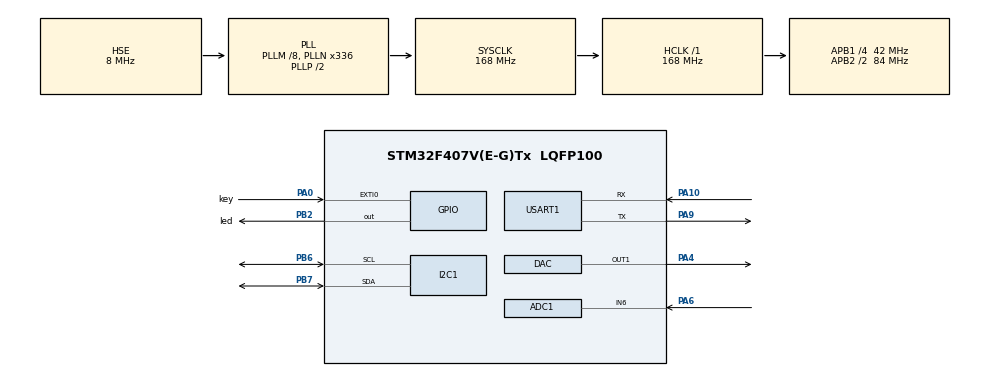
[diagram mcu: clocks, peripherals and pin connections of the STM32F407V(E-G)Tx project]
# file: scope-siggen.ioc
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ADC1.Channel-0\#ChannelRegularConversion=ADC_CHANNEL_4
ADC1.ExternalTrigConv=ADC_EXTERNALTRIGCONV_T8_TRGO
ADC1.NbrOfConversionFlag=1
ADC1.Rank-0\#ChannelRegularConversion=1
ADC1.SamplingTime-0\#ChannelRegularConversion=ADC_SAMPLETIME_3CYCLES
ADC1.master=1
DAC.DAC_Trigger=DAC_TRIGGER_T5_TRGO
Dma.Request0=USART1_TX
Dma.USART1_TX.0.Direction=DMA_MEMORY_TO_PERIPH
Dma.USART1_TX.0.FIFOMode=DMA_FIFOMODE_DISABLE
Dma.USART1_TX.0.Instance=DMA2_Stream7
Dma.USART1_TX.0.MemDataAlignment=DMA_MDATAALIGN_BYTE
Dma.USART1_TX.0.MemInc=DMA_MINC_ENABLE
Dma.USART1_TX.0.Mode=DMA_CIRCULAR
Dma.USART1_TX.0.PeriphDataAlignment=DMA_PDATAALIGN_BYTE
Dma.USART1_TX.0.PeriphInc=DMA_PINC_DISABLE
Dma.USART1_TX.0.Priority=DMA_PRIORITY_LOW
FREERTOS.Tasks01=defaultTask,24,128,StartDefaultTask,Default,NULL,Dynamic,NULL,NULL
IWDG.Prescaler=IWDG_PRESCALER_256
Mcu.Family=STM32F4
Mcu.Name=STM32F407V(E-G)Tx
Mcu.Package=LQFP100
NVIC.ADC_IRQn=true\:5\:0\:true\:false\:true\:true\:true\:true
NVIC.DMA2_Stream7_IRQn=true\:5\:0\:false\:false\:true\:true\:false\:true
NVIC.EXTI0_IRQn=true\:6\:0\:true\:false\:true\:true\:true\:true
NVIC.I2C1_ER_IRQn=true\:5\:0\:true\:false\:true\:true\:true\:true
NVIC.I2C1_EV_IRQn=true\:5\:0\:true\:false\:true\:true\:true\:true
NVIC.PriorityGroup=NVIC_PRIORITYGROUP_4
NVIC.TIM5_IRQn=true\:5\:0\:false\:false\:true\:true\:true\:true
NVIC.TIM6_DAC_IRQn=true\:15\:0\:false\:false\:true\:false\:false\:true
NVIC.TIM8_UP_TIM13_IRQn=true\:5\:0\:false\:false\:true\:true\:true\:true
NVIC.TimeBase=TIM6_DAC_IRQn
NVIC.TimeBaseIP=TIM6
NVIC.USART1_IRQn=true\:5\:0\:false\:false\:true\:true\:true\:true
PA0-WKUP.GPIO_Label=key
PA0-WKUP.Signal=GPXTI0
PA10.GPIO_PuPd=GPIO_PULLUP
PA10.Mode=Asynchronous
PA10.Signal=USART1_RX
PA13.Mode=Serial_Wire
PA13.Signal=SYS_JTMS-SWDIO
PA14.Mode=Serial_Wire
PA14.Signal=SYS_JTCK-SWCLK
PA4.Signal=COMP_DAC1_group
PA6.Signal=ADCx_IN6
PA9.GPIO_PuPd=GPIO_NOPULL
PA9.Mode=Asynchronous
PA9.Signal=USART1_TX
PB2.GPIO_Label=led
PB2.Signal=GPIO_Output
PB6.GPIO_Pu=GPIO_PULLUP
PB6.Mode=I2C
PB6.Signal=I2C1_SCL
PB7.GPIO_Pu=GPIO_PULLUP
PB7.Mode=I2C
PB7.Signal=I2C1_SDA
PH0-OSC_IN.Mode=HSE-External-Oscillator
PH0-OSC_IN.Signal=RCC_OSC_IN
PH1-OSC_OUT.Mode=HSE-External-Oscillator
PH1-OSC_OUT.Signal=RCC_OSC_OUT
ProjectManager.HeapSize=0x200
ProjectManager.StackSize=0x400
ProjectManager.TargetToolchain=MDK-ARM V5.32
RCC.48MHZClocksFreq_Value=84000000
RCC.AHBFreq_Value=168000000
RCC.APB1CLKDivider=RCC_HCLK_DIV4
RCC.APB1Freq_Value=42000000
RCC.APB1TimFreq_Value=84000000
RCC.APB2CLKDivider=RCC_HCLK_DIV2
RCC.APB2Freq_Value=84000000
RCC.APB2TimFreq_Value=168000000
RCC.CortexFreq_Value=168000000
RCC.HCLKFreq_Value=168000000
RCC.HSE_VALUE=8000000
RCC.HSI_VALUE=16000000
RCC.LSE_VALUE=32768
RCC.PLLM=8
RCC.PLLN=336
RCC.PLLSourceVirtual=RCC_PLLSOURCE_HSE
RCC.SYSCLKFreq_VALUE=168000000
RCC.SYSCLKSource=RCC_SYSCLKSOURCE_PLLCLK
RCC.VCOOutputFreq_Value=336000000
SH.ADCx_IN6.0=ADC1_IN6,IN6
SH.COMP_DAC1_group.0=DAC_OUT1,DAC_OUT1
TIM5.Channel-Output\ Compare2\ No\ Output=TIM_CHANNEL_2
TIM5.Period=256-1
TIM5.TIM_MasterOutputTrigger=TIM_TRGO_UPDATE
TIM8.Channel-Output\ Compare1\ No\ Output=TIM_CHANNEL_1
TIM8.Period=671
TIM8.Prescaler=4
USART1.VirtualMode=VM_ASYNC
VP_FREERTOS_VS_CMSIS_V2.Mode=CMSIS_V2
VP_IWDG_VS_IWDG.Mode=IWDG_Activate
VP_SYS_VS_tim6.Mode=TIM6
VP_TIM5_VS_ClockSourceINT.Mode=Internal
VP_TIM5_VS_no_output2.Mode=Output Compare2 No Output
VP_TIM8_VS_ClockSourceINT.Mode=Internal
VP_TIM8_VS_no_output1.Mode=Output Compare1 No Output
board=custom

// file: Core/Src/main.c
/* USER CODE BEGIN Header */
/**
  ******************************************************************************
  * @file           : main.c
  * @brief          : Main program body
  ******************************************************************************
  * @attention
  *
  * Copyright (c) 2026 STMicroelectronics.
  * All rights reserved.
  *
  * This software is licensed under terms that can be found in the LICENSE file
  * in the root directory of this software component.
  * If no LICENSE file comes with this software, it is provided AS-IS.
  *
  ******************************************************************************
  */
/* USER CODE END Header */
#include "main.h"
#include "cmsis_os.h"

/* USER CODE BEGIN Includes */
#include "version.h"
#include "debug.h"
#include "error_tracker.h"
#include "oscilloscope.h"
#include "signal_gen.h"
#include "uart_protocol.h"
#include "uart_tx.h"
#include "display.h"
#include "key_handler.h"
#include "config.h"
#include "app_init.h"
#include <stdio.h>
#include <string.h>
/* USER CODE END Includes */

ADC_HandleTypeDef hadc1;

DAC_HandleTypeDef hdac;

I2C_HandleTypeDef hi2c1;

IWDG_HandleTypeDef hiwdg;

TIM_HandleTypeDef htim5;
TIM_HandleTypeDef htim8;

UART_HandleTypeDef huart1;

/* Definitions for defaultTask */
osThreadId_t defaultTaskHandle;
const osThreadAttr_t defaultTask_attributes = {
  .name = "defaultTask",
  .stack_size = 128 * 4,
  .priority = (osPriority_t) osPriorityNormal,
};
/* USER CODE BEGIN PV */
/* 外部任务句柄声明 */
extern osThreadId_t oscilloscope_task_handle;
extern osThreadId_t signalgen_task_handle;
extern osThreadId_t uart_task_handle;
extern osThreadId_t display_task_handle;
extern osThreadId_t key_task_handle;

/* DMA句柄 */
DMA_HandleTypeDef hdma_dac1;
DMA_HandleTypeDef hdma_adc1;
/* USER CODE END PV */

void SystemClock_Config(void);
static void MX_GPIO_Init(void);
static void MX_ADC1_Init(void);
static void MX_DAC_Init(void);
static void MX_I2C1_Init(void);
static void MX_IWDG_Init(void);
static void MX_TIM5_Init(void);
static void MX_TIM8_Init(void);
static void MX_USART1_UART_Init(void);
void StartDefaultTask(void *argument);

int main(void)
{

  /* MCU Configuration--------------------------------------------------------*/

  /* Reset of all peripherals, Initializes the Flash interface and the Systick. */
  HAL_Init();

  /* Configure the system clock */
  SystemClock_Config();

  /* Initialize all configured peripherals */
  MX_GPIO_Init();
  MX_ADC1_Init();
  MX_DAC_Init();
  MX_I2C1_Init();
  MX_IWDG_Init();
  MX_TIM5_Init();
  MX_TIM8_Init();
  MX_USART1_UART_Init();

  /* USER CODE BEGIN 2 */
  /* 标记 UART TX 已就绪，允许 printf 输出 */
  UART_TX_MarkReady();

  /* 按键 GPIO 由 KeyHandler_Init 统一配置 */

  /* I2C 连通性检查（仅验证 OLED 在线） */
  uint8_t test_byte = 0x00;
  if (HAL_I2C_Master_Transmit(&hi2c1, 0x78, &test_byte, 1, 100) != HAL_OK) {
    char warn[] = "WARN: I2C OLED not responding\r\n";
    HAL_UART_Transmit(&huart1, (uint8_t*)warn, sizeof(warn)-1, 100);
  }

  /* 打印版本信息 */
  Version_Print();

  /* 应用初始化 */
  BootStage_t boot_stage = App_Init();

  if (boot_stage == BOOT_STAGE_ERROR) {
    LOG_ERROR("Application init failed");
    /* 进入降级模式 */
    App_EnterFallbackMode();
  }

  LOG_INFO_M(LOG_MODULE_APP, "System initialized, boot stage: %s", App_GetBootStageString(boot_stage));
  /* USER CODE END 2 */

  /* Init scheduler */
  osKernelInitialize();

  /* Create the thread(s) */
  /* creation of defaultTask */
  defaultTaskHandle = osThreadNew(StartDefaultTask, NULL, &defaultTask_attributes);

  /* USER CODE BEGIN RTOS_THREADS */
  /* add threads, ... */

  /* 创建示波器任务 */
  oscilloscope_task_handle = osThreadNew(Oscilloscope_Task, NULL, &(osThreadAttr_t){
    .name = "Oscilloscope",
    .stack_size = 768 * 4,  /* 增加到 3072 字节，原 2048 */
    .priority = (osPriority_t) osPriorityNormal,
  });

  /* 创建信号发生器任务 */
  signalgen_task_handle = osThreadNew(SignalGen_Task, NULL, &(osThreadAttr_t){
    .name = "SignalGen",
    .stack_size = 768 * 4,  /* 增加到 3072 字节，原 2048 */
    .priority = (osPriority_t) osPriorityNormal,
  });

  /* 创建串口协议任务 */
  uart_task_handle = osThreadNew(UART_Task, NULL, &(osThreadAttr_t){
    .name = "UART",
    .stack_size = 1536 * 4,  /* 增加到 6144 字节，原 4096 */
    .priority = (osPriority_t) osPriorityNormal,
  });

  /* 创建显示任务 */
  display_task_handle = osThreadNew(Display_Task, NULL, &(osThreadAttr_t){
    .name = "Display",
    .stack_size = 768 * 4,  /* 增加到 3072 字节，原 2048 */
    .priority = (osPriority_t) osPriorityNormal,
  });

  /* 创建按键任务 */
  key_task_handle = osThreadNew(Key_Task, NULL, &(osThreadAttr_t){
    .name = "Key",
    .stack_size = 384 * 4,  /* 增加到 1536 字节，原 1024 */
    .priority = (osPriority_t) osPriorityNormal,
  });

  /* USER CODE END RTOS_THREADS */

  /* Start scheduler */
  osKernelStart();

  /* We should never get here as control is now taken by the scheduler */
  /* Infinite loop */
  while (1)
  {

  }
}

void SystemClock_Config(void)
{
  RCC_OscInitTypeDef RCC_OscInitStruct = {0};
  RCC_ClkInitTypeDef RCC_ClkInitStruct = {0};

  /** Configure the main internal regulator output voltage
  */
  __HAL_RCC_PWR_CLK_ENABLE();
  __HAL_PWR_VOLTAGESCALING_CONFIG(PWR_REGULATOR_VOLTAGE_SCALE1);
  /** Initializes the RCC Oscillators according to the specified parameters
  * in the RCC_OscInitTypeDef structure.
  */
  RCC_OscInitStruct.OscillatorType = RCC_OSCILLATORTYPE_LSI|RCC_OSCILLATORTYPE_HSE;
  RCC_OscInitStruct.HSEState = RCC_HSE_ON;
  RCC_OscInitStruct.LSIState = RCC_LSI_ON;
  RCC_OscInitStruct.PLL.PLLState = RCC_PLL_ON;
  RCC_OscInitStruct.PLL.PLLSource = RCC_PLLSOURCE_HSE;
  RCC_OscInitStruct.PLL.PLLM = 8;
  RCC_OscInitStruct.PLL.PLLN = 336;
  RCC_OscInitStruct.PLL.PLLP = RCC_PLLP_DIV2;
  RCC_OscInitStruct.PLL.PLLQ = 4;
  if (HAL_RCC_OscConfig(&RCC_OscInitStruct) != HAL_OK)
  {
    Error_Handler();
  }
  /** Initializes the CPU, AHB and APB buses clocks
  */
  RCC_ClkInitStruct.ClockType = RCC_CLOCKTYPE_HCLK|RCC_CLOCKTYPE_SYSCLK
                              |RCC_CLOCKTYPE_PCLK1|RCC_CLOCKTYPE_PCLK2;
  RCC_ClkInitStruct.SYSCLKSource = RCC_SYSCLKSOURCE_PLLCLK;
  RCC_ClkInitStruct.AHBCLKDivider = RCC_SYSCLK_DIV1;
  RCC_ClkInitStruct.APB1CLKDivider = RCC_HCLK_DIV4;
  RCC_ClkInitStruct.APB2CLKDivider = RCC_HCLK_DIV2;

  if (HAL_RCC_ClockConfig(&RCC_ClkInitStruct, FLASH_LATENCY_5) != HAL_OK)
  {
    Error_Handler();
  }
}

static void MX_ADC1_Init(void)
{

  ADC_ChannelConfTypeDef sConfig = {0};

  /** Configure the global features of the ADC (Clock, Resolution, Data Alignment and number of conversion)
  */
  hadc1.Instance = ADC1;
  hadc1.Init.ClockPrescaler = ADC_CLOCK_SYNC_PCLK_DIV4;
  hadc1.Init.Resolution = ADC_RESOLUTION_12B;
  hadc1.Init.ScanConvMode = DISABLE;
  hadc1.Init.ContinuousConvMode = DISABLE;
  hadc1.Init.DiscontinuousConvMode = DISABLE;
  hadc1.Init.ExternalTrigConvEdge = ADC_EXTERNALTRIGCONVEDGE_RISING;
  hadc1.Init.ExternalTrigConv = ADC_EXTERNALTRIGCONV_T8_TRGO;
  hadc1.Init.DataAlign = ADC_DATAALIGN_RIGHT;
  hadc1.Init.NbrOfConversion = 1;
  hadc1.Init.DMAContinuousRequests = ENABLE;
  hadc1.Init.EOCSelection = ADC_EOC_SINGLE_CONV;
  if (HAL_ADC_Init(&hadc1) != HAL_OK)
  {
    Error_Handler();
  }
  /** Configure for the selected ADC regular channel its corresponding rank in the sequencer and its sample time.
  */
  sConfig.Channel = ADC_CHANNEL_6;  /* PA6 = ADC 输入 */
  sConfig.Rank = 1;
  sConfig.SamplingTime = ADC_SAMPLETIME_480CYCLES;
  if (HAL_ADC_ConfigChannel(&hadc1, &sConfig) != HAL_OK)
  {
    Error_Handler();
  }

}

static void MX_DAC_Init(void)
{

  DAC_ChannelConfTypeDef sConfig = {0};

  /** DAC Initialization
  */
  hdac.Instance = DAC;
  if (HAL_DAC_Init(&hdac) != HAL_OK)
  {
    Error_Handler();
  }
  /** DAC channel OUT1 config
  */
  sConfig.DAC_Trigger = DAC_TRIGGER_T5_TRGO;
  sConfig.DAC_OutputBuffer = DAC_OUTPUTBUFFER_ENABLE;
  if (HAL_DAC_ConfigChannel(&hdac, &sConfig, DAC_CHANNEL_1) != HAL_OK)
  {
    Error_Handler();
  }

}

static void MX_I2C1_Init(void)
{

  hi2c1.Instance = I2C1;
  hi2c1.Init.ClockSpeed = 100000;
  hi2c1.Init.DutyCycle = I2C_DUTYCYCLE_2;
  hi2c1.Init.OwnAddress1 = 0;
  hi2c1.Init.AddressingMode = I2C_ADDRESSINGMODE_7BIT;
  hi2c1.Init.DualAddressMode = I2C_DUALADDRESS_DISABLE;
  hi2c1.Init.OwnAddress2 = 0;
  hi2c1.Init.GeneralCallMode = I2C_GENERALCALL_DISABLE;
  hi2c1.Init.NoStretchMode = I2C_NOSTRETCH_DISABLE;
  if (HAL_I2C_Init(&hi2c1) != HAL_OK)
  {
    Error_Handler();
  }

}

static void MX_IWDG_Init(void)
{

  hiwdg.Instance = IWDG;
  hiwdg.Init.Prescaler = IWDG_PRESCALER_256;
  hiwdg.Init.Reload = 4095;
  if (HAL_IWDG_Init(&hiwdg) != HAL_OK)
  {
    Error_Handler();
  }

}

static void MX_TIM5_Init(void)
{

  TIM_ClockConfigTypeDef sClockSourceConfig = {0};
  TIM_MasterConfigTypeDef sMasterConfig = {0};
  TIM_OC_InitTypeDef sConfigOC = {0};

  htim5.Instance = TIM5;
  htim5.Init.Prescaler = 0;  /* 84MHz / (0+1) / 256 = 328kHz TRGO, 运行时 SigGen_ApplyConfig 会重新计算 */
  htim5.Init.CounterMode = TIM_COUNTERMODE_UP;
  htim5.Init.Period = 256-1;  /* DAC_BUFFER_SIZE - 1 */
  htim5.Init.ClockDivision = TIM_CLOCKDIVISION_DIV1;
  htim5.Init.AutoReloadPreload = TIM_AUTORELOAD_PRELOAD_DISABLE;
  if (HAL_TIM_Base_Init(&htim5) != HAL_OK)
  {
    Error_Handler();
  }
  sClockSourceConfig.ClockSource = TIM_CLOCKSOURCE_INTERNAL;
  if (HAL_TIM_ConfigClockSource(&htim5, &sClockSourceConfig) != HAL_OK)
  {
    Error_Handler();
  }
  if (HAL_TIM_OC_Init(&htim5) != HAL_OK)
  {
    Error_Handler();
  }
  sMasterConfig.MasterOutputTrigger = TIM_TRGO_UPDATE;
  sMasterConfig.MasterSlaveMode = TIM_MASTERSLAVEMODE_DISABLE;
  if (HAL_TIMEx_MasterConfigSynchronization(&htim5, &sMasterConfig) != HAL_OK)
  {
    Error_Handler();
  }
  sConfigOC.OCMode = TIM_OCMODE_TIMING;
  sConfigOC.Pulse = 0;
  sConfigOC.OCPolarity = TIM_OCPOLARITY_HIGH;
  sConfigOC.OCFastMode = TIM_OCFAST_DISABLE;
  if (HAL_TIM_OC_ConfigChannel(&htim5, &sConfigOC, TIM_CHANNEL_2) != HAL_OK)
  {
    Error_Handler();
  }

}

static void MX_TIM8_Init(void)
{

  TIM_ClockConfigTypeDef sClockSourceConfig = {0};
  TIM_MasterConfigTypeDef sMasterConfig = {0};
  TIM_OC_InitTypeDef sConfigOC = {0};
  TIM_BreakDeadTimeConfigTypeDef sBreakDeadTimeConfig = {0};

  htim8.Instance = TIM8;
  htim8.Init.Prescaler = 0;
  htim8.Init.CounterMode = TIM_COUNTERMODE_UP;
  htim8.Init.Period = 16799;  /* 84MHz / 16800 = 5kHz, 运行时 Osc_ApplyConfig 会重新计算 */
  htim8.Init.ClockDivision = TIM_CLOCKDIVISION_DIV1;
  htim8.Init.RepetitionCounter = 0;
  htim8.Init.AutoReloadPreload = TIM_AUTORELOAD_PRELOAD_DISABLE;
  if (HAL_TIM_Base_Init(&htim8) != HAL_OK)
  {
    Error_Handler();
  }
  sClockSourceConfig.ClockSource = TIM_CLOCKSOURCE_INTERNAL;
  if (HAL_TIM_ConfigClockSource(&htim8, &sClockSourceConfig) != HAL_OK)
  {
    Error_Handler();
  }
  if (HAL_TIM_OC_Init(&htim8) != HAL_OK)
  {
    Error_Handler();
  }
  sMasterConfig.MasterOutputTrigger = TIM_TRGO_UPDATE;
  sMasterConfig.MasterSlaveMode = TIM_MASTERSLAVEMODE_DISABLE;
  if (HAL_TIMEx_MasterConfigSynchronization(&htim8, &sMasterConfig) != HAL_OK)
  {
    Error_Handler();
  }
  sConfigOC.OCMode = TIM_OCMODE_TIMING;
  sConfigOC.Pulse = 0;
  sConfigOC.OCPolarity = TIM_OCPOLARITY_HIGH;
  sConfigOC.OCNPolarity = TIM_OCNPOLARITY_HIGH;
  sConfigOC.OCFastMode = TIM_OCFAST_DISABLE;
  sConfigOC.OCIdleState = TIM_OCIDLESTATE_RESET;
  sConfigOC.OCNIdleState = TIM_OCNIDLESTATE_RESET;
  if (HAL_TIM_OC_ConfigChannel(&htim8, &sConfigOC, TIM_CHANNEL_1) != HAL_OK)
  {
    Error_Handler();
  }
  sBreakDeadTimeConfig.OffStateRunMode = TIM_OSSR_DISABLE;
  sBreakDeadTimeConfig.OffStateIDLEMode = TIM_OSSI_DISABLE;
  sBreakDeadTimeConfig.LockLevel = TIM_LOCKLEVEL_OFF;
  sBreakDeadTimeConfig.DeadTime = 0;
  sBreakDeadTimeConfig.BreakState = TIM_BREAK_DISABLE;
  sBreakDeadTimeConfig.BreakPolarity = TIM_BREAKPOLARITY_HIGH;
  sBreakDeadTimeConfig.AutomaticOutput = TIM_AUTOMATICOUTPUT_DISABLE;
  if (HAL_TIMEx_ConfigBreakDeadTime(&htim8, &sBreakDeadTimeConfig) != HAL_OK)
  {
    Error_Handler();
  }

}

static void MX_USART1_UART_Init(void)
{

  huart1.Instance = USART1;
  huart1.Init.BaudRate = 115200;
  huart1.Init.WordLength = UART_WORDLENGTH_8B;
  huart1.Init.StopBits = UART_STOPBITS_1;
  huart1.Init.Parity = UART_PARITY_NONE;
  huart1.Init.Mode = UART_MODE_TX_RX;
  huart1.Init.HwFlowCtl = UART_HWCONTROL_NONE;
  huart1.Init.OverSampling = UART_OVERSAMPLING_16;
  if (HAL_UART_Init(&huart1) != HAL_OK)
  {
    Error_Handler();
  }

}

static void MX_GPIO_Init(void)
{
  GPIO_InitTypeDef GPIO_InitStruct = {0};

  /* GPIO Ports Clock Enable */
  __HAL_RCC_GPIOH_CLK_ENABLE();
  __HAL_RCC_GPIOA_CLK_ENABLE();
  __HAL_RCC_GPIOB_CLK_ENABLE();

  /*Configure GPIO pin Output Level */
  HAL_GPIO_WritePin(led_GPIO_Port, led_Pin, GPIO_PIN_RESET);

  /* 按键 GPIO 由 KeyHandler_Init 配置 */

  /*Configure GPIO pin : led_Pin */
  GPIO_InitStruct.Pin = led_Pin;
  GPIO_InitStruct.Mode = GPIO_MODE_OUTPUT_PP;
  GPIO_InitStruct.Pull = GPIO_NOPULL;
  GPIO_InitStruct.Speed = GPIO_SPEED_FREQ_LOW;
  HAL_GPIO_Init(led_GPIO_Port, &GPIO_InitStruct);

  /* EXTI interrupt init - 不需要，使用轮询模式 */
  /* HAL_NVIC_SetPriority(EXTI0_IRQn, 6, 0); */
  /* HAL_NVIC_EnableIRQ(EXTI0_IRQn); */

}

void StartDefaultTask(void *argument)
{
  /* USER CODE BEGIN 5 */
  /* Infinite loop */
  for(;;)
  {
    HAL_IWDG_Refresh(&hiwdg);  /* 喂狗 */
    osDelay(1000);              /* 1秒周期，看门狗超时~32秒 */
  }
  /* USER CODE END 5 */
}

void HAL_TIM_PeriodElapsedCallback(TIM_HandleTypeDef *htim)
{
  if (htim->Instance == TIM6) {
    HAL_IncTick();
  }
}

void Error_Handler(void)
{
  /* USER CODE BEGIN Error_Handler_Debug */
  /* User can add his own implementation to report the HAL error return state */

  /* 添加LED闪烁指示错误 */
  RCC->AHB1ENR |= RCC_AHB1ENR_GPIOBEN;
  GPIOB->MODER |= (1 << (2 * 2));

  /* 快速闪烁表示错误 */
  while (1)
  {
    GPIOB->ODR |= (1 << 2);
    for(volatile int i = 0; i < 500000; i++);
    GPIOB->ODR &= ~(1 << 2);
    for(volatile int i = 0; i < 500000; i++);
  }
  /* USER CODE END Error_Handler_Debug */
}
